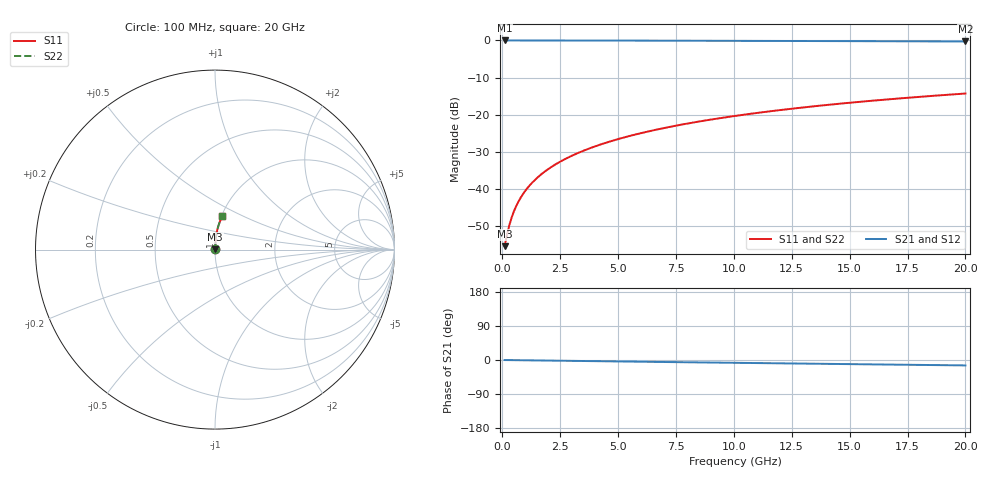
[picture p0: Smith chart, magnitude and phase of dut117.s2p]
! Touchstone file exported from HFSS 2024.1.0
!  File:  C:/UserFiles/LocalFiles/RDL_TSV_Batchsim/temp_RDL_bottom_117_1778695890.aedt
!  Generated:  02:14:39 AM May 14, 2026
!  Design:  RDL_bottom
!  Project:  temp_RDL_bottom_117_1778695890
!  Setup:  Setup1
!  Solution:  Sweep
! Variables:
!  dtsv = 10.80580581um
!  hbump = 3um
!  htsv = 85.91um
!  ldown = 127.55um
!  lrdl = 100um
!  p = 40
!  p1 = 56.11um
!  rhole = 1um
!  t = 450um
!  tdown = 2.53um
!  trdl = 3.915915916um
!  wdown = 16.09um
!  wrdl = 20um
# GHz S MA R 50.000000
! Terminal data exported
! Port[1] = RDL1_T1
! Port[2] = RDL1_T2
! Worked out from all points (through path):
!   200 points, 100 MHz to 20 GHz, reference 50 ohm
!   highest |S21| = -0.01 dB at 100 MHz (marker M1); lowest = -0.3 dB at 20 GHz (marker M2)
!   group delay of S21, straight-line fit = 1.97 ps
!   lowest |S11| = -55.4 dB at 100 MHz (marker M3), VSWR 1.00, Z = 50.1 + j0.0969 ohm
!   |S11| at or under -10 dB: start of sweep to end of sweep
!   |S22| runs from -55.4 to -14.3 dB; largest |S21 - S12| = 3.7e-15
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0.1  0.001701 34.6  0.9986 -0.1  0.9986 -0.1  0.001701 34.6
! Gamma 0 0 0 0
! Port Impedance 50 0 50 0
0.2  0.002393 53.7  0.9986 -0.2  0.9986 -0.2  0.002393 53.7
0.3  0.003222 63.4  0.9985 -0.2  0.9985 -0.2  0.003222 63.4
0.4  0.004099 68.9  0.9985 -0.3  0.9985 -0.3  0.004099 68.9
0.5  0.004993 72.4  0.9985 -0.4  0.9985 -0.4  0.004993 72.4
0.6  0.005895 74.9  0.9984 -0.5  0.9984 -0.5  0.005895 74.9
0.8  0.007705 78.1  0.9983 -0.6  0.9983 -0.6  0.007705 78.1
1.1  0.01043 80.9  0.9982 -0.9  0.9982 -0.9  0.01043 80.9
1.5  0.01409 82.9  0.998 -1.2  0.998 -1.2  0.01409 82.9
1.8  0.01685 83.9  0.9978 -1.4  0.9978 -1.4  0.01685 83.9
2.1  0.01962 84.6  0.9977 -1.6  0.9977 -1.6  0.01962 84.6
2.7  0.0252 85.5  0.9972 -2.1  0.9972 -2.1  0.0252 85.5
3.5  0.0327 86.1  0.9965 -2.7  0.9965 -2.7  0.0327 86.1
4.2  0.03932 86.3  0.9958 -3.2  0.9958 -3.2  0.03932 86.3
5  0.04696 86.3  0.9948 -3.8  0.9948 -3.8  0.04696 86.3
5.9  0.05563 86.2  0.9936 -4.5  0.9936 -4.5  0.05563 86.2
6.8  0.06437 85.9  0.9923 -5.1  0.9923 -5.1  0.06437 85.9
8.3  0.07905 85.3  0.99 -6.2  0.99 -6.2  0.07905 85.3
10.1  0.09678 84.3  0.987 -7.5  0.987 -7.5  0.09678 84.3
13.4  0.1293 82.2  0.981 -9.8  0.981 -9.8  0.1293 82.2
16.7  0.1613 79.8  0.9744 -12.1  0.9744 -12.1  0.1613 79.8
20  0.1928 77.5  0.9673 -14.3  0.9673 -14.3  0.1928 77.5
